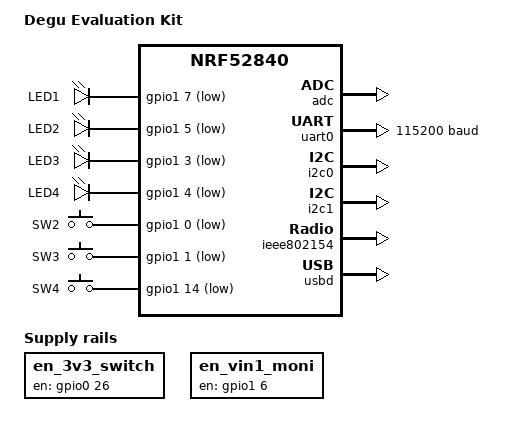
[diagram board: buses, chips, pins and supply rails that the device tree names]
/*
 * Copyright (c) 2019 Atmark Techno, Inc.
 *
 * SPDX-License-Identifier: Apache-2.0
 */

/dts-v1/;
#include <nordic/nrf52840_qiaa.dtsi>
#include "degu_evk-pinctrl.dtsi"
#include <zephyr/dt-bindings/input/input-event-codes.h>

/ {
	model = "Degu Evaluation Kit";
	compatible = "nordic,pca10056-dk";

	chosen {
		zephyr,sram = &sram0;
		zephyr,flash = &flash0;
		zephyr,console = &degu_cdc_acm_uart;
		zephyr,shell-uart = &degu_cdc_acm_uart;
		zephyr,code-partition = &slot0_partition;
		zephyr,ieee802154 = &ieee802154;
	};

	leds {
		compatible = "gpio-leds";
		led0: led_0 {
			gpios = <&gpio1 7 GPIO_ACTIVE_LOW>;
			label = "LED1";
		};
		led1: led_1 {
			gpios = <&gpio1 5 GPIO_ACTIVE_LOW>;
			label = "LED2";
		};
		led2: led_2 {
			gpios = <&gpio1 3 GPIO_ACTIVE_LOW>;
			label = "LED3";
		};
		led3: led_3 {
			gpios = <&gpio1 4 GPIO_ACTIVE_LOW>;
			label = "LED4";
		};
	};

	buttons {
		compatible = "gpio-keys";
		button0: button_0 {
			gpios = <&gpio1 0 (GPIO_PULL_UP | GPIO_ACTIVE_LOW)>;
			label = "SW2";
			zephyr,code = <INPUT_KEY_0>;
		};
		button1: button_1 {
			gpios = <&gpio1 1 (GPIO_PULL_UP | GPIO_ACTIVE_LOW)>;
			label = "SW3";
			zephyr,code = <INPUT_KEY_1>;
		};
		button2: button_2 {
			gpios = <&gpio1 14 (GPIO_PULL_UP | GPIO_ACTIVE_LOW)>;
			label = "SW4";
			zephyr,code = <INPUT_KEY_2>;
		};
	};

	en-3v3-switch {
		compatible = "regulator-fixed";
		regulator-name = "en_3v3_switch";
		enable-gpios = <&gpio0 26 GPIO_ACTIVE_HIGH>;
		regulator-boot-on;
	};

	en-vin1-moni {
		compatible = "regulator-fixed";
		regulator-name = "en_vin1_moni";
		enable-gpios = <&gpio1 6 GPIO_ACTIVE_HIGH>;
		regulator-boot-on;
	};

	/* These aliases are provided for compatibility with samples */
	aliases {
		led0 = &led0;
		led1 = &led1;
		led2 = &led2;
		led3 = &led3;
		sw0 = &button0;
		sw1 = &button1;
		sw2 = &button2;
		watchdog0 = &wdt0;
	};
};

&reg1 {
	regulator-initial-mode = <NRF5X_REG_MODE_DCDC>;
};

&adc {
	status ="okay";
};

&uicr {
	gpio-as-nreset;
};

&gpiote {
	status ="okay";
};

&gpio0 {
	status ="okay";
};

&gpio1 {
	status ="okay";
};

&uart0 {
	compatible = "nordic,nrf-uart";
	current-speed = <115200>;
	status = "okay";
	pinctrl-0 = <&uart0_default>;
	pinctrl-1 = <&uart0_sleep>;
	pinctrl-names = "default", "sleep";
};

&i2c0 {
	compatible = "nordic,nrf-twim";
	status = "okay";
	pinctrl-0 = <&i2c0_default>;
	pinctrl-1 = <&i2c0_sleep>;
	pinctrl-names = "default", "sleep";
};

&i2c1 {
	compatible = "nordic,nrf-twim";
	status = "okay";
	pinctrl-0 = <&i2c1_default>;
	pinctrl-1 = <&i2c1_sleep>;
	pinctrl-names = "default", "sleep";
};

&ieee802154 {
	status = "okay";
};

&flash0 {
	partitions {
		compatible = "fixed-partitions";
		#address-cells = <1>;
		#size-cells = <1>;

		boot_partition: partition@0 {
			label = "mcuboot";
			reg = <0x00000000 0x00014000>;
		};
		slot0_partition: partition@14000 {
			label = "image-0";
			reg = <0x00014000 0x0006e000>;
		};
		slot1_partition: partition@82000 {
			label = "image-1";
			reg = <0x00082000 0x0006e000>;
		};
		scratch_partition: partition@f0000 {
			label = "image-scratch";
			reg = <0x000f0000 0x00008000>;
		};
		storage_partition: partition@f8000 {
			label = "storage";
			reg = <0x000f8000 0x00008000>;
		};
	};
};

zephyr_udc0: &usbd {
	compatible = "nordic,nrf-usbd";
	status = "okay";

	degu_cdc_acm_uart: degu_cdc_acm_uart {
		compatible = "zephyr,cdc-acm-uart";
	};
};
